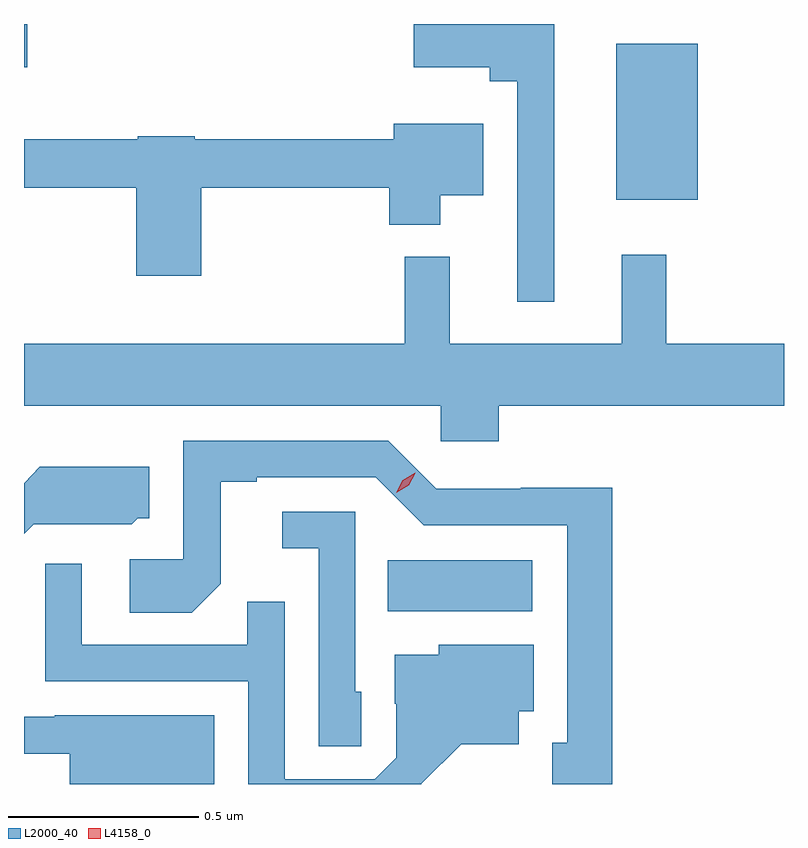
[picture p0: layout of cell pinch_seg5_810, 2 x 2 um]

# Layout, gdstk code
import gdstk
lib = gdstk.Library(unit=1e-6, precision=1e-09)
def R(c, l, rs):  # rectangles x0, y0, x1, y1
    for r in rs: c.add(gdstk.rectangle(r[:2], r[2:], *l))
def P(c, l, *ps):  # polygons
    for p in ps: c.add(gdstk.Polygon(p, *l))
L2000_40 = (2000, 40)
L4158_0 = (4158, 0)

pinch_seg5_810 = lib.new_cell('pinch_seg5_810')
R(pinch_seg5_810, L2000_40, [(760.3,912.164,760.681,912.298), (760.901,913.247,761.116,913.657), (759.343,913.595,759.352,913.709)])
P(pinch_seg5_810, L2000_40, [(760.738,913.709),(760.368,913.709),(760.368,913.595),(760.568,913.595),(760.568,913.559),(760.641,913.559),(760.641,912.978),(760.738,912.978)],
  [(759.809,913.278),(760.304,913.278),(760.304,913.181),(760.438,913.181),(760.438,913.259),(760.552,913.259),(760.552,913.447),(760.316,913.447),(760.316,913.406),(759.792,913.406),(759.792,913.414),(759.642,913.414),(759.642,913.406),(759.343,913.406),(759.343,913.278),(759.638,913.278),(759.638,913.047),(759.809,913.047)],
  [(760.592,912.704),(761.343,912.704),(761.343,912.868),(761.033,912.868),(761.033,913.102),(760.916,913.102),(760.916,912.868),(760.463,912.868),(760.463,913.096),(760.345,913.096),(760.345,912.868),(759.343,912.868),(759.343,912.704),(760.44,912.704),(760.44,912.611),(760.592,912.611)],
  [(760.891,912.488),(760.65,912.488),(760.65,912.486),(760.428,912.486),(760.302,912.612),(759.762,912.612),(759.762,912.3),(759.621,912.3),(759.621,912.16),(759.785,912.16),(759.861,912.236),(759.861,912.504),(759.955,912.504),(759.955,912.516),(760.269,912.516),(760.395,912.39),(760.772,912.39),(760.772,911.817),(760.733,911.817),(760.733,911.709),(760.891,911.709)],
  [(759.369,912.393),(759.492,912.393),(759.492,912.392),(759.626,912.392),(759.642,912.408),(759.673,912.408),(759.673,912.544),(759.385,912.544),(759.343,912.501),(759.343,912.367)],
  [(760.23,911.952),(760.215,911.952),(760.215,912.426),(760.023,912.426),(760.023,912.329),(760.119,912.329),(760.119,911.809),(760.23,911.809)],
  [(760.39,911.711),(760.493,911.813),(760.645,911.813),(760.645,911.9),(760.684,911.9),(760.684,912.076),(760.434,912.076),(760.434,912.049),(760.319,912.049),(760.319,911.92),(760.323,911.92),(760.323,911.778),(760.266,911.721),(760.029,911.721),(760.029,912.188),(759.931,912.188),(759.931,912.075),(759.495,912.075),(759.495,912.289),(759.399,912.289),(759.399,911.979),(759.933,911.979),(759.933,911.709),(760.388,911.709)],
  [(759.844,911.89),(759.424,911.89),(759.424,911.886),(759.343,911.886),(759.343,911.789),(759.464,911.789),(759.464,911.709),(759.844,911.709)])
P(pinch_seg5_810, L4158_0, [(760.323,912.476),(760.323,912.476),(760.34,912.508),(760.372,912.528),(760.372,912.528),(760.372,912.527),(760.355,912.495),(760.323,912.476)])

lib.write_gds('pinch_seg5_810.gds')
